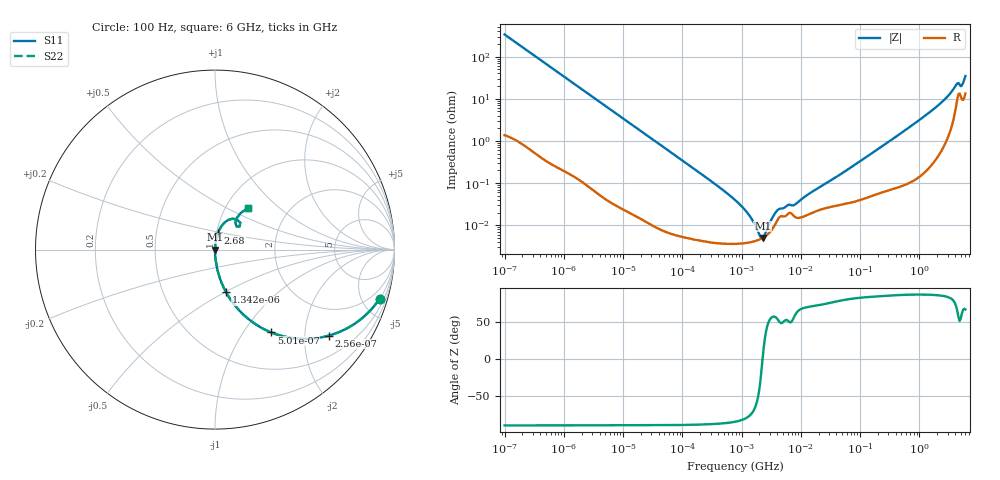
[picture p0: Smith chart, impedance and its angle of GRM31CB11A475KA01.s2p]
!Murata Part Number: GRM31CB11A475KA01
!These Parameters are Measured in Series Mode Connection
!Data Generated on Mar 30, 2021
!  o--ll--o
!Port1  Port2
!  o------o
!Operation Temp=25[degC], DC Bias Voltage=0[V]
!Freq. Start=100[Hz] Stop=6[GHz] 401[Steps]
# Hz S RI R 50
!Freq.(Hz) S11(Real) S11(Imag) S21(Real) S21(Imag) S12(Real) S12(Imag) S22(Real) S22(Imag)
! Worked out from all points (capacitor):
!   401 points, 100 Hz to 6 GHz, reference 50 ohm
!   read as one part in series: C = 4.73 uF near 109 Hz
!   lowest |Z| = 4.99 mohm at 2.269 MHz (marker M1)
!   series resonance near 2.26 MHz, so ESL is about 1 nH
!   S11 on the Smith chart (normalised r, x): 100 Hz: 1.03, -6.72; 256 Hz: 1.01, -2.64; 501 Hz: 1.01, -1.35; 1.342 kHz: 1.00, -0.51; 2.68 GHz: 1.02, +0.19; 6 GHz: 1.27, +0.64
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100  0.9178 -0.2726  0.0822 0.2726  0.0822 0.2726  0.9178 -0.2726
164  0.8079 -0.3916  0.1921 0.3916  0.1921 0.3916  0.8079 -0.3916
256  0.6339 -0.4793  0.3661 0.4793  0.3661 0.4793  0.6339 -0.4793
501  0.3136 -0.4615  0.6864 0.4615  0.6864 0.4615  0.3136 -0.4615
784  0.1584 -0.3624  0.8416 0.3624  0.8416 0.3624  0.1584 -0.3624
1342  0.0613 -0.2368  0.9387 0.2368  0.9387 0.2368  0.0613 -0.2368
2008  0.0288 -0.1642  0.9712 0.1642  0.9712 0.1642  0.0288 -0.1642
6433  0.00314 -0.0529  0.9969 0.0529  0.9969 0.0529  0.00314 -0.0529
40335  0.000154 -0.00852  0.9998 0.00852  0.9998 0.00852  0.000154 -0.00852
774597  3.63e-05 -0.000397  1 0.000397  1 0.000397  3.63e-05 -0.000397
1159002  3.77e-05 -0.000222  1 0.000222  1 0.000222  3.77e-05 -0.000222
1734173  4.25e-05 -8.37e-05  1 8.37e-05  1 8.37e-05  4.25e-05 -8.37e-05
2268635  4.99e-05 1.2e-06  1 -1.2e-06  1 -1.2e-06  4.99e-05 1.2e-06
2837864  6.31e-05 7.38e-05  0.9999 -7.38e-05  0.9999 -7.38e-05  6.31e-05 7.38e-05
4246196  0.000149 0.000189  0.9999 -0.000189  0.9999 -0.000189  0.000149 0.000189
7947587  0.000158 0.000265  0.9998 -0.000265  0.9998 -0.000265  0.000158 0.000265
1.555665e7  0.000198 0.000591  0.9998 -0.000591  0.9998 -0.000591  0.000198 0.000591
3.124326e8  0.000776 0.00978  0.9992 -0.00978  0.9992 -0.00978  0.000776 0.00978
2.679998e9  0.017 0.0939  0.983 -0.0939  0.983 -0.0939  0.017 0.0939
4.193612e9  0.0965 0.1718  0.9035 -0.1718  0.9035 -0.1718  0.0965 0.1718
5.245841e9  0.1132 0.1485  0.8868 -0.1485  0.8868 -0.1485  0.1132 0.1485
6e9  0.1829 0.2306  0.8171 -0.2306  0.8171 -0.2306  0.1829 0.2306
